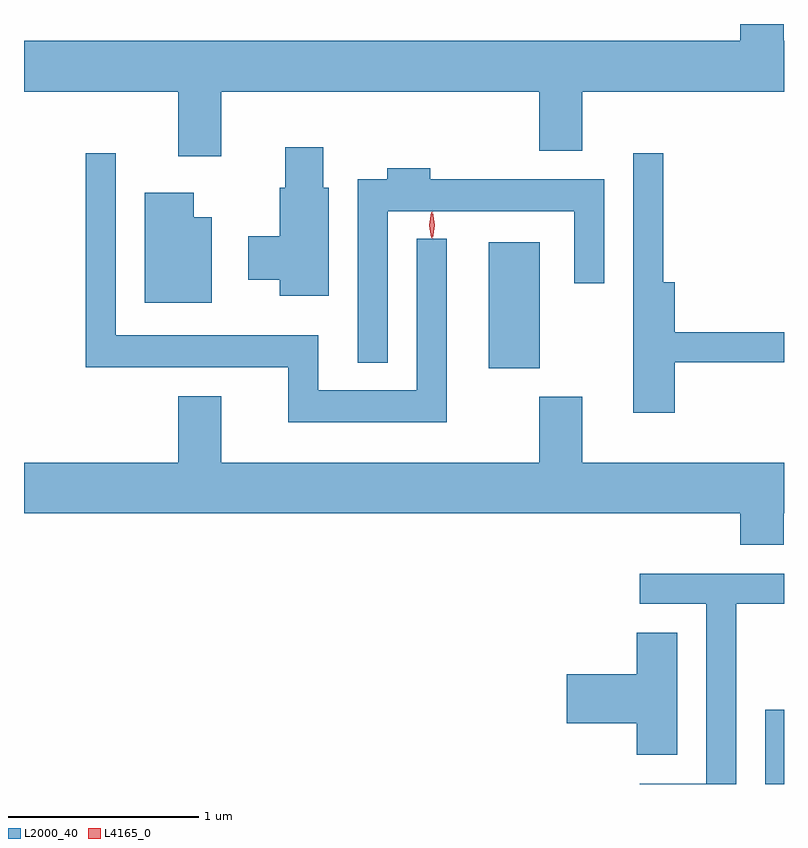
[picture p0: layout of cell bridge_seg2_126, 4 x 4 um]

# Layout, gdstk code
import gdstk
lib = gdstk.Library(unit=1e-6, precision=1e-09)
def R(c, l, rs):  # rectangles x0, y0, x1, y1
    for r in rs: c.add(gdstk.rectangle(r[:2], r[2:], *l))
def P(c, l, *ps):  # polygons
    for p in ps: c.add(gdstk.Polygon(p, *l))
L2000_40 = (2000, 40)
L4165_0 = (4165, 0)

bridge_seg2_126 = lib.new_cell('bridge_seg2_126')
R(bridge_seg2_126, L2000_40, [(1024.791,1100.172,1024.89,1100.564), (1023.336,1102.361,1023.604,1103.024)])
P(bridge_seg2_126, L2000_40, [(1021.929,1103.816),(1023.601,1103.816),(1023.601,1103.506),(1023.829,1103.506),(1023.829,1103.816),(1024.89,1103.816),(1024.89,1104.084),(1024.889,1104.084),(1024.889,1104.172),(1024.661,1104.172),(1024.661,1104.084),(1020.89,1104.084),(1020.89,1103.816),(1021.701,1103.816),(1021.701,1103.476),(1021.929,1103.476)],
  [(1022.494,1103.309),(1022.464,1103.309),(1022.464,1103.524),(1022.266,1103.524),(1022.266,1103.309),(1022.236,1103.309),(1022.236,1103.054),(1022.071,1103.054),(1022.071,1102.826),(1022.236,1102.826),(1022.236,1102.741),(1022.494,1102.741)],
  [(1023.114,1103.043),(1022.956,1103.043),(1022.956,1102.244),(1022.439,1102.244),(1022.439,1102.534),(1021.374,1102.534),(1021.374,1103.493),(1021.216,1103.493),(1021.216,1102.366),(1022.281,1102.366),(1022.281,1102.076),(1023.114,1102.076)],
  [(1024.314,1102.391),(1024.89,1102.391),(1024.89,1102.549),(1024.314,1102.549),(1024.314,1102.814),(1024.254,1102.814),(1024.254,1103.493),(1024.096,1103.493),(1024.096,1102.126),(1024.314,1102.126)],
  [(1022.804,1103.186),(1023.786,1103.186),(1023.786,1102.808),(1023.944,1102.808),(1023.944,1103.354),(1023.029,1103.354),(1023.029,1103.414),(1022.801,1103.414),(1022.801,1103.354),(1022.646,1103.354),(1022.646,1102.388),(1022.804,1102.388)],
  [(1021.879,1103.154),(1021.784,1103.154),(1021.784,1103.284),(1021.526,1103.284),(1021.526,1102.706),(1021.879,1102.706)],
  [(1024.889,1101.596),(1024.89,1101.596),(1024.89,1101.864),(1023.829,1101.864),(1023.829,1102.209),(1023.601,1102.209),(1023.601,1101.864),(1021.929,1101.864),(1021.929,1102.214),(1021.701,1102.214),(1021.701,1101.864),(1020.89,1101.864),(1020.89,1101.596),(1024.661,1101.596),(1024.661,1101.431),(1024.889,1101.431)],
  [(1024.639,1101.121),(1024.89,1101.121),(1024.89,1101.279),(1024.132,1101.279),(1024.132,1101.121),(1024.481,1101.121),(1024.481,1100.174),(1024.132,1100.174),(1024.132,1100.172),(1024.639,1100.172)],
  [(1024.329,1100.969),(1024.116,1100.969),(1024.116,1100.749),(1023.746,1100.749),(1023.746,1100.491),(1024.116,1100.491),(1024.116,1100.326),(1024.329,1100.326)])
P(bridge_seg2_126, L4165_0, [(1023.041,1103.043),(1023.04,1103.044),(1023.031,1103.113),(1023.041,1103.182),(1023.041,1103.183),(1023.042,1103.182),(1023.051,1103.113),(1023.041,1103.044)],
  [(1023.035,1103.047),(1023.034,1103.048),(1023.024,1103.114),(1023.034,1103.18),(1023.034,1103.18),(1023.035,1103.18),(1023.044,1103.114),(1023.035,1103.048)])

lib.write_gds('bridge_seg2_126.gds')
